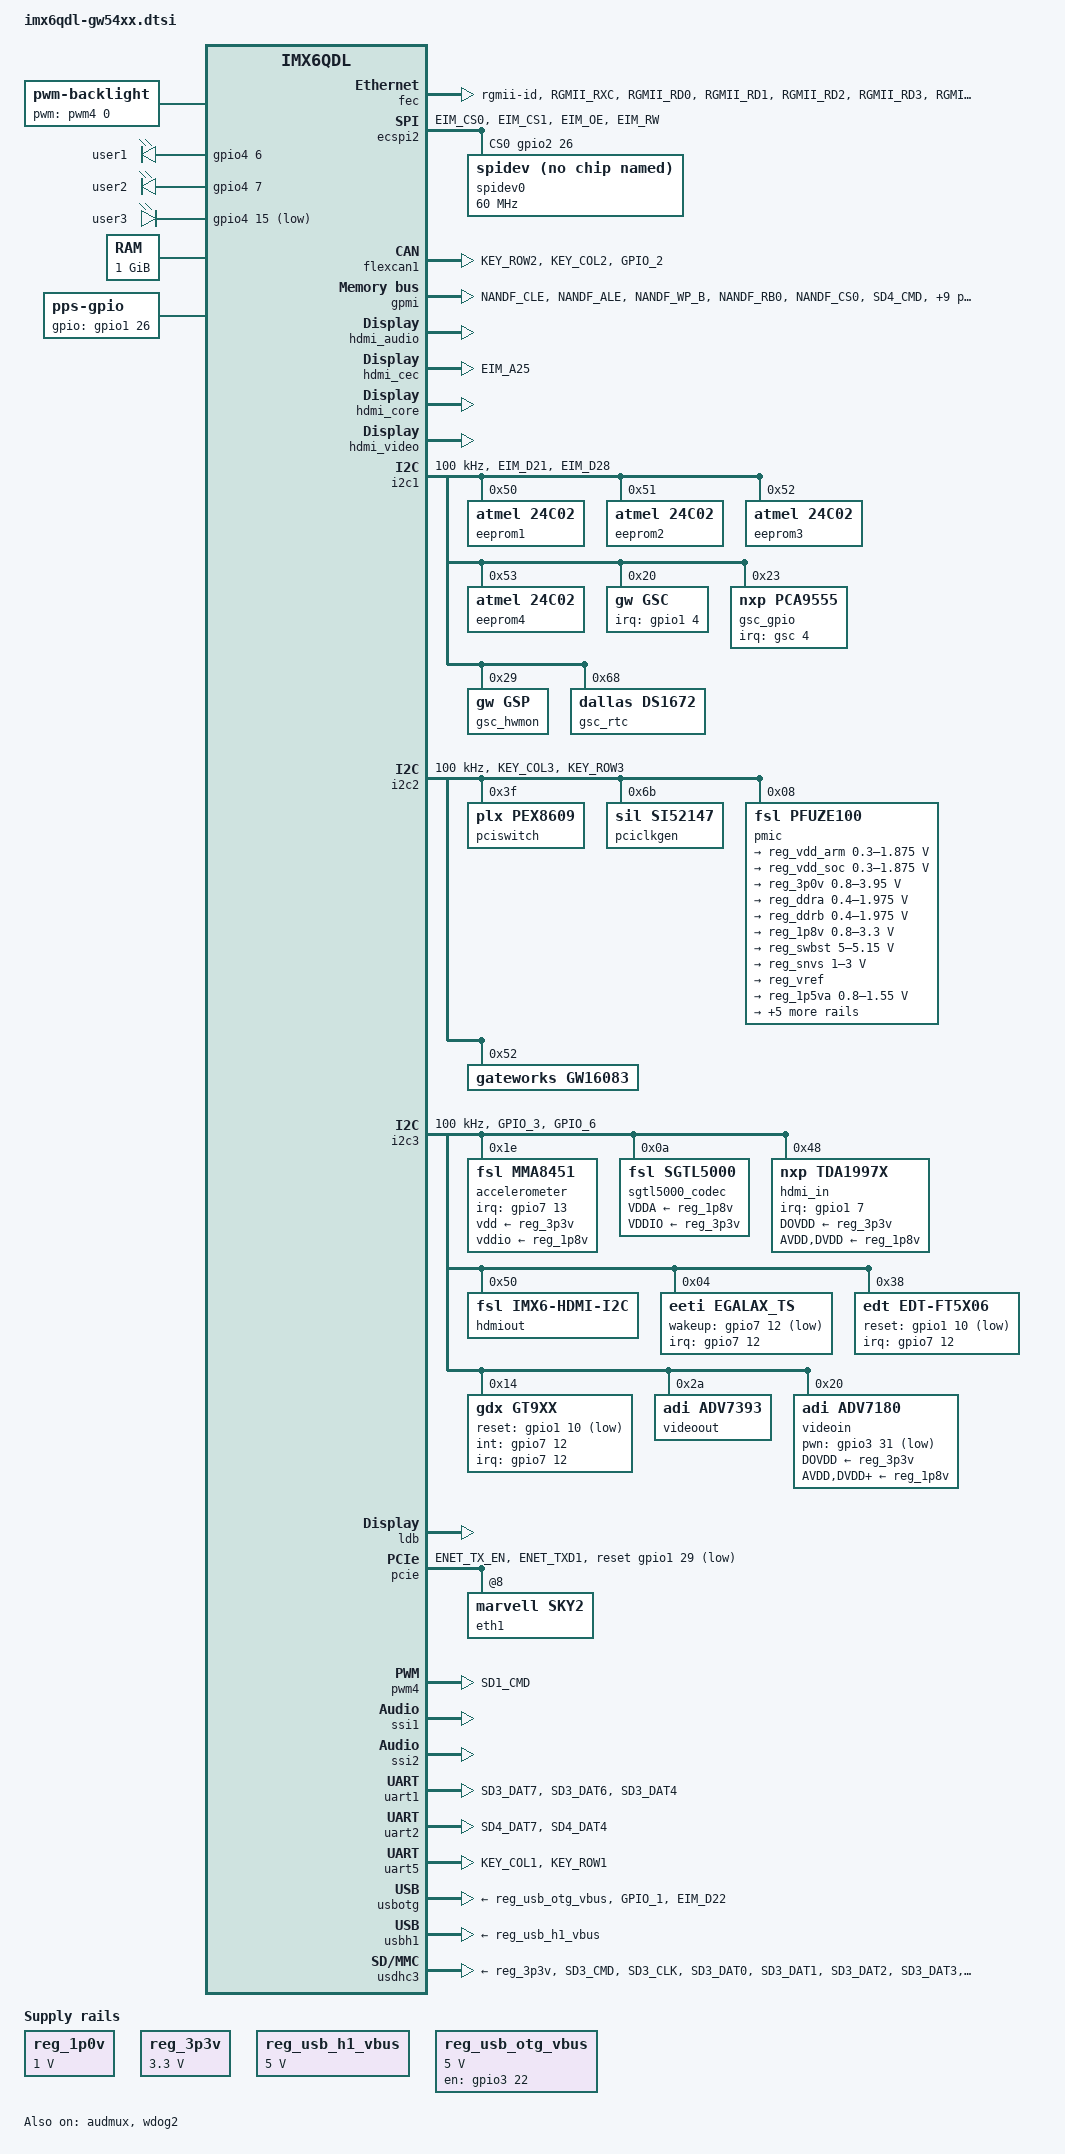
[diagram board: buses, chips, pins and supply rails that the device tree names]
/*
 * Copyright 2013-2014 Gateworks Corporation
 *
 * The code contained herein is licensed under the GNU General Public
 * License. You may obtain a copy of the GNU General Public License
 * Version 2 or later at the following locations:
 *
 * http://www.opensource.org/licenses/gpl-license.html
 * http://www.gnu.org/copyleft/gpl.html
 */

/ {
	/* these are used by bootloader for disabling nodes */
	aliases {
		can0 = &flexcan1;
		ethernet0 = &fec;
		ethernet1 = &eth1;
		sky2 = &eth1; /* FIXME */
		led0 = &led0;
		led1 = &led1;
		led2 = &led2;
		lvds0 = &lvds1;
		mxcfb0 = &mxcfb1;
		mxcfb1 = &mxcfb2;
		mxcfb2 = &mxcfb3;
		nand = &gpmi;
		spi2 = &ecspi2;
		ssi0 = &ssi1;
		ssi1 = &ssi2;
		usb0 = &usbh1;
		usb1 = &usbotg;
		usdhc2 = &usdhc3;
	};

	chosen {
		bootargs = "console=ttymxc1,115200";
	};


	backlight {
		compatible = "pwm-backlight";
		pwms = <&pwm4 0 5000000>;
		brightness-levels = <
			0  /*1  2  3  4  5  6*/  7  8  9
			10 11 12 13 14 15 16 17 18 19
			20 21 22 23 24 25 26 27 28 29
			30 31 32 33 34 35 36 37 38 39
			40 41 42 43 44 45 46 47 48 49
			50 51 52 53 54 55 56 57 58 59
			60 61 62 63 64 65 66 67 68 69
			70 71 72 73 74 75 76 77 78 79
			80 81 82 83 84 85 86 87 88 89
			90 91 92 93 94 95 96 97 98 99
			100
			>;
		default-brightness-level = <94>;
	};

	leds {
		compatible = "gpio-leds";
		pinctrl-names = "default";
		pinctrl-0 = <&pinctrl_gpio_leds>;

		led0: user1 {
			label = "user1";
			gpios = <&gpio4 6 GPIO_ACTIVE_HIGH>; /* MX6_PANLEDG */
			default-state = "on";
			linux,default-trigger = "heartbeat";
		};

		led1: user2 {
			label = "user2";
			gpios = <&gpio4 7 GPIO_ACTIVE_HIGH>; /* MX6_PANLEDR */
			default-state = "off";
		};

		led2: user3 {
			label = "user3";
			gpios = <&gpio4 15 GPIO_ACTIVE_LOW>; /* MX6_LOCLED# */
			default-state = "off";
		};
	};

	memory {
		reg = <0x10000000 0x40000000>;
	};

	pps {
		compatible = "pps-gpio";
		pinctrl-names = "default";
		pinctrl-0 = <&pinctrl_pps>;
		gpios = <&gpio1 26 GPIO_ACTIVE_HIGH>;
		status = "okay";
	};

	hdmi_video_in: hdmi_video_in {
		compatible = "fsl,imx6-ventana-tda1997x",
			     "fsl,imx-tda1997x-video";
		status = "okay";
	};

	hdmi_audio_in: hdmi_audio_in {
		compatible = "fsl,imx6-ventana-tda1997x",
			     "fsl,imx-tda1997x-audio";
		status = "okay";
	};

	regulators {
		compatible = "simple-bus";
		#address-cells = <1>;
		#size-cells = <0>;

		reg_1p0v: regulator@0 {
			compatible = "regulator-fixed";
			reg = <0>;
			regulator-name = "1P0V";
			regulator-min-microvolt = <1000000>;
			regulator-max-microvolt = <1000000>;
			regulator-always-on;
		};

		reg_3p3v: regulator@1 {
			compatible = "regulator-fixed";
			reg = <1>;
			regulator-name = "3P3V";
			regulator-min-microvolt = <3300000>;
			regulator-max-microvolt = <3300000>;
			regulator-always-on;
		};

		reg_usb_h1_vbus: regulator@2 {
			compatible = "regulator-fixed";
			reg = <2>;
			regulator-name = "usb_h1_vbus";
			regulator-min-microvolt = <5000000>;
			regulator-max-microvolt = <5000000>;
			regulator-always-on;
		};

		reg_usb_otg_vbus: regulator@3 {
			compatible = "regulator-fixed";
			reg = <3>;
			regulator-name = "usb_otg_vbus";
			regulator-min-microvolt = <5000000>;
			regulator-max-microvolt = <5000000>;
			gpio = <&gpio3 22 GPIO_ACTIVE_HIGH>;
			enable-active-high;
		};
	};

	sound {
		compatible = "fsl,imx6q-ventana-sgtl5000",
			     "fsl,imx-audio-sgtl5000";
		model = "sgtl5000-audio";
		cpu-dai = <&ssi1>;
		audio-codec = <&sgtl5000_codec>;
		audio-routing =
			"LINE_IN", "Line In Jack",
			"Line Out Jack", "LINE_OUT";
		mux-int-port = <1>;
		mux-ext-port = <4>;
	};

	sound-hdmi-in {
		compatible = "fsl,imx6q-ventana-tda1997x",
			     "fsl,imx-audio-tda1997x";
		model = "tda1997x-audio";
		cpu-dai = <&ssi2>;
		audio-codec = <&tda1997x_codec>;
		mux-int-port = <2>;
		mux-ext-port = <5>;
	};

	sound-hdmi-out {
		compatible = "fsl,imx6q-audio-hdmi",
			     "fsl,imx-audio-hdmi";
		model = "imx-audio-hdmi";
		hdmi-controller = <&hdmi_audio>;
	};

	tda1997x_codec: sound-tda1997x-codec {
		compatible = "nxp,tda1997x-codec";
		status = "okay";
	};

	mxcfb1: fb@0 {
		/* hdmi */
		compatible = "fsl,mxc_sdc_fb";
		disp_dev = "hdmi";
		interface_pix_fmt = "RGB24";
		mode_str ="1920x1080M@60";
		default_bpp = <24>;
		int_clk = <0>;
		late_init = <0>;
		status = "okay";
	};

	mxcfb2: fb@1 {
		/* Analog */
		compatible = "fsl,mxc_sdc_fb";
		disp_dev = "adv739x";
		interface_pix_fmt = "BT656";
		mode_str ="BT656-NTSC";
		default_bpp = <16>;
		int_clk = <0>;
		late_init = <0>;
		status = "okay";
	};

	mxcfb3: fb@2 {
		/* LVDS */
		compatible = "fsl,mxc_sdc_fb";
		disp_dev = "ldb";
		interface_pix_fmt = "RGB666";
		default_bpp = <16>;
		int_clk = <0>;
		late_init = <0>;
		status = "disabled";
	};

	/* this is IPU<n>_DISP<n> interface from LCD block for parallel out
	 * On the GW54xx these are connected to the DISP0 pads and used for
	 * adv7393 Analog Video out
	 *
	 * IMX6Q:  can be IPU1_DISP0 or IPU2_DISP0
	 * IMX6DL: can be IPU1_DISP0
	 * thus we override it in the q/dl dts to enable and select pinctrl
	 */
	bt656if: lcd@0 {
		compatible = "fsl,lcd";
		default_ifmt = "BT656";
		status = "disabled";
	};

	/*
	 * GW54xx has 2 video inputs:
	 *  TDA1997x HDMI in: IPU1_CSI0
	 *  ADV7180 CVBS in : IPU2_CSI1
	 * likely need to move this to q/dl to handle all cases
	 * make sure the ipu/csi id matches the resource in the decoder
	 */
	cap0: v4l2_cap_0 {
		/* IPU1_CSI0 - HDMI in via TDA1997x */
		compatible = "fsl,imx6q-v4l2-capture";
		/* ipu/csi id set in cpu specific as pinmux varies */
		mclk_source = <0>;
		status = "okay";
	};

	cap1: v4l2_cap_1 {
		/* Analog in via ADV7180 */
		compatible = "fsl,imx6q-v4l2-capture";
		/* ipu/csi id set in cpu specific as pinmux varies */
		mclk_source = <0>;
		status = "okay";
	};

	v4l2_out {
		compatible = "fsl,mxc_v4l2_output";
		status = "okay";
	};

	lvds_cabc_ctrl {
		lvds0-gpios = <&gpio1 10 GPIO_ACTIVE_HIGH>;
	};
};

&audmux {
	pinctrl-names = "default";
	pinctrl-0 = <&pinctrl_audmux>; /* AUD4<->sgtl5000 / AUD5<->tda1997x */
	status = "okay";
};

&fec {
	pinctrl-names = "default";
	pinctrl-0 = <&pinctrl_enet>;
	phy-mode = "rgmii-id";
	phy-reset-gpios = <&gpio1 30 GPIO_ACTIVE_LOW>;
	status = "okay";
};

&ecspi2 {
	fsl,spi-num-chipselects = <1>;
	cs-gpios = <&gpio2 26 GPIO_ACTIVE_HIGH>;
	pinctrl-names = "default";
	pinctrl-0 = <&pinctrl_ecspi2>;
	status = "okay";

	spidev0: spidev@0 {
		compatible = "spidev";
		reg = <0>;
		spi-max-frequency = <60000000>;
	};
};

&flexcan1 {
	pinctrl-names = "default";
	pinctrl-0 = <&pinctrl_flexcan1>;
	trx-stby-gpio = <&gpio1 2 GPIO_ACTIVE_HIGH>;
	status = "okay";
};

&gpc {
	fsl,ldo-bypass = <0>;
};

&gpmi {
	pinctrl-names = "default";
	pinctrl-0 = <&pinctrl_gpmi_nand>;
	status = "okay";
};

&hdmi_audio {
	status = "okay";
};

&hdmi_cec {
	pinctrl-names = "default";
	pinctrl-0 = <&pinctrl_hdmi_cec>;
	status = "okay";
};

&hdmi_core {
	ipu_id = <0>;
	disp_id = <1>;
	status = "okay";
};

&hdmi_video {
	fsl,phy_reg_vlev = <0x0294>;
	fsl,phy_reg_cksymtx = <0x800d>;
	status = "okay";
};

&i2c1 {
	clock-frequency = <100000>;
	pinctrl-names = "default";
	pinctrl-0 = <&pinctrl_i2c1>;
	status = "okay";

	eeprom1: eeprom@50 {
		compatible = "atmel,24c02";
		reg = <0x50>;
		pagesize = <16>;
	};

	eeprom2: eeprom@51 {
		compatible = "atmel,24c02";
		reg = <0x51>;
		pagesize = <16>;
	};

	eeprom3: eeprom@52 {
		compatible = "atmel,24c02";
		reg = <0x52>;
		pagesize = <16>;
	};

	eeprom4: eeprom@53 {
		compatible = "atmel,24c02";
		reg = <0x53>;
		pagesize = <16>;
	};

	gsc: gsc@20 {
		compatible = "gw,gsc";
		reg = <0x20>;
		interrupt-parent = <&gpio1>;
		interrupts = <4 GPIO_ACTIVE_LOW>;
		interrupt-controller;
		#interrupt-cells = <1>;

		/* GSC watchdog */
		watchdog {
			compatible = "gw,gsc_wdt";
			status = "okay";
		};

		/* Linux input events from GSC interrupt events */
		input {
			compatible = "gw,gsc_input";
			interrupt-parent = <&gsc>;
			interrupts = <0 1 2 5 7>;
			interrupt-names = "button", "key-erased", "eeprom-wp", "tamper", "button-held";
			status = "okay";
		};
	};

	gsc_gpio: pca9555@23 {
		compatible = "nxp,pca9555";
		reg = <0x23>;
		gpio-controller;
		#gpio-cells = <2>;
		interrupt-parent = <&gsc>;
		interrupts = <4>;
	};

	gsc_hwmon: hwmon@29 {
		compatible = "gw,gsp";
		reg = <0x29>;
	};

	gsc_rtc: ds1672@68 {
		compatible = "dallas,ds1672";
		reg = <0x68>;
	};
};

&i2c2 {
	clock-frequency = <100000>;
	pinctrl-names = "default";
	pinctrl-0 = <&pinctrl_i2c2>;
	status = "okay";

	pciswitch: pex8609@3f {
		compatible = "plx,pex8609";
		reg = <0x3f>;
	};

	pciclkgen: si52147@6b {
		compatible = "sil,si52147";
		reg = <0x6b>;
	};

	pmic: pfuze100@08 {
		compatible = "fsl,pfuze100";
		reg = <0x08>;

		regulators {
			/* VDD_ARM */
			reg_vdd_arm: sw1ab {
				regulator-name = "vddarm";
				regulator-min-microvolt = <300000>;
				regulator-max-microvolt = <1875000>;
				regulator-boot-on;
				regulator-always-on;
				regulator-ramp-delay = <6250>;
				linux,phandle = <&reg_vdd_arm>;
			};

			/* VDD_SOC */
			reg_vdd_soc: sw1c {
				regulator-name = "vddsoc";
				regulator-min-microvolt = <300000>;
				regulator-max-microvolt = <1875000>;
				regulator-boot-on;
				regulator-always-on;
				regulator-ramp-delay = <6250>;
				linux,phandle = <&reg_vdd_soc>;
			};

			/* VDD_HIGH */
			reg_3p0v: sw2 {
				regulator-name = "vdd3p0";
				regulator-min-microvolt = <800000>;
				regulator-max-microvolt = <3950000>;
				regulator-boot-on;
				regulator-always-on;
			};

			/* VDD_DDR */
			reg_ddra: sw3a {
				regulator-name = "vddddra";
				regulator-min-microvolt = <400000>;
				regulator-max-microvolt = <1975000>;
				regulator-boot-on;
				regulator-always-on;
			};

			/* VDD_DDR */
			reg_ddrb: sw3b {
				regulator-name = "vddddrb";
				regulator-min-microvolt = <400000>;
				regulator-max-microvolt = <1975000>;
				regulator-boot-on;
				regulator-always-on;
			};

			/* VDD_1P8 */
			reg_1p8v: sw4 {
				regulator-name = "vdd1p8";
				regulator-min-microvolt = <800000>;
				regulator-max-microvolt = <3300000>;
			};

			/* VDD_5P0 */
			reg_swbst: swbst {
				regulator-name = "vdd5p0";
				regulator-min-microvolt = <5000000>;
				regulator-max-microvolt = <5150000>;
			};

			reg_snvs: vsnvs {
				regulator-name = "vddsnvs";
				regulator-min-microvolt = <1000000>;
				regulator-max-microvolt = <3000000>;
				regulator-boot-on;
				regulator-always-on;
			};

			/* VDD_VREF */
			reg_vref: vrefddr {
				regulator-name = "vddvref";
				regulator-boot-on;
				regulator-always-on;
			};

			/* VDD_PCI_1P5_1 */
			reg_1p5va: vgen1 {
				regulator-name = "vdd1p5a";
				regulator-min-microvolt = <800000>;
				regulator-max-microvolt = <1550000>;
				regulator-boot-on;
				regulator-always-on;
			};

			/* VDD_PCI_1P5_2 */
			reg_1p5vb: vgen2 {
				regulator-name = "vdd1p5b";
				regulator-min-microvolt = <800000>;
				regulator-max-microvolt = <1550000>;
				regulator-boot-on;
				regulator-always-on;
			};

			/* unused */
			reg_vgen3: vgen3 {
				regulator-min-microvolt = <1800000>;
				regulator-max-microvolt = <3300000>;
			};

			/* VDD_AUD_1P8 */
			reg_aud_1p8v: vgen4 {
				regulator-name = "vdd1p8a";
				regulator-min-microvolt = <1800000>;
				regulator-max-microvolt = <3300000>;
				regulator-always-on;
			};

			/* VDD_2P5 */
			reg_2p5v: vgen5 {
				regulator-name = "vdd2p5";
				regulator-min-microvolt = <1800000>;
				regulator-max-microvolt = <3300000>;
				regulator-always-on;
			};

			/* unused */
			reg_vgen6: vgen6 {
				regulator-min-microvolt = <1800000>;
				regulator-max-microvolt = <3300000>;
				regulator-always-on;
			};
		};
	};

	gw16083: gw16083@52 {
		compatible = "gateworks,gw16083";
		reg = <0x52>;
	};
};

&i2c3 {
	clock-frequency = <100000>;
	pinctrl-names = "default";
	pinctrl-0 = <&pinctrl_i2c3>;
	status = "okay";

	accelerometer: mma8451@1e {
		compatible = "fsl,mma8451";
		reg = <0x1e>;
		position = <0>;
		vdd-supply = <&reg_3p3v>;
		vddio-supply = <&reg_1p8v>;
		interrupt-parent = <&gpio7>;
		interrupts = <13 8>;
		interrupt-route = <1>;
	};

	sgtl5000_codec: sgtl5000@0a {
		compatible = "fsl,sgtl5000";
		reg = <0x0a>;
		clocks = <&clks 201>;
		VDDA-supply = <&reg_1p8v>;
		VDDIO-supply = <&reg_3p3v>;
	};

	hdmi_in: tda1977x@48 {
		compatible = "nxp,tda1997x";
		reg = <0x48>;
		interrupt-parent = <&gpio1>;
		interrupts = <7 IRQ_TYPE_EDGE_FALLING>;
		/* regulators */
		DOVDD-supply = <&reg_3p3v>;
		AVDD-supply = <&reg_1p8v>;
		DVDD-supply = <&reg_1p8v>;
		hdcp = <0>; /* HDCP disabled */
		ddc_slave = <0x74>; /* DDC slave addres */
		max-pixel-rate = <180>; /* IMX6 CSI max pixel rate 180MP/sec */
		/* video output format */
		vidout_fmt = "422_smp"; /* YUV422 */
		vidout_clkmode = "single_edge"; /* 1x clock */
		vidout_portcfg = [ 00 00 00 88 87 00 82 81 00 ];
		vidout_trc = <0>; /* no timing codes (SAV/EAV) in stream */
		vidout_blc = <0>; /* no blanking codes in stream */
		/* audio output format */
		audout_fmt = "i2s16"; /* I2S bus, 16bit per ch */
		audout_sysclk = <128>; /* 128fs clkmode */
		audout_layout = <0>; /* AP0,WS,A_CLK for up to 2ch audio */
		status = "okay";
	};

	hdmiout: edid@50 {
		compatible = "fsl,imx6-hdmi-i2c";
		reg = <0x50>;
	};

	/* touchscreen */
	egalax_ts@04 {
		compatible = "eeti,egalax_ts";
		reg = <0x04>;
		interrupt-parent = <&gpio7>;
		interrupts = <12 IRQ_TYPE_EDGE_FALLING>;
		wakeup-gpios = <&gpio7 12 GPIO_ACTIVE_LOW>;
	};

	/* touchscreen */
	edt-ft5x06@38 {
		compatible = "edt,edt-ft5x06";
		reg = <0x38>;
		interrupt-parent = <&gpio7>;
		interrupts = <12 IRQ_TYPE_EDGE_FALLING>;
		reset-gpios = <&gpio1 10 GPIO_ACTIVE_LOW>;
		invert;
		screen-x = <1024>;
		screen-y = <600>;
	};

	/* touchscreen */
	gt9xx@14 {
		compatible = "gdx,gt9xx";
		reg = <0x14>;
		interrupt-parent = <&gpio7>;
		interrupts = <12 IRQ_TYPE_EDGE_FALLING>;
		reset-gpio = <&gpio1 10 GPIO_ACTIVE_LOW>;
		int-gpio = <&gpio7 12 GPIO_ACTIVE_HIGH>;
		rotate;
	};

	/* on IMX6Q this can be IPU1_DISP0 or IPU2_DISP0 so we define in q/dl */
	videoout: adv7393@2a {
		compatible = "adi,adv7393";
		reg = <0x2a>;
	};

	/* Analog VideoIn */
	/* EIM pads differ between IMX6Q and IMX6DL so we define pinmux/csi/ipu in IMX6Q/IMX6DL */
	videoin: adv7180@20 {
		compatible = "adi,adv7180";
		reg = <0x20>;
		clocks = <&clks 201>;
		clock-names = "csi_mclk";
		DOVDD-supply = <&reg_3p3v>;
		AVDD-supply = <&reg_1p8v>;
		DVDD-supply = <&reg_1p8v>;
		PVDD-supply = <&reg_1p8v>;
		pwn-gpios = <&gpio3 31 GPIO_ACTIVE_LOW>; /* powerdown */
		/* mclk required but not used */
		mclk = <24000000>;
		mclk_source = <0>;
		cvbs = <1>;
	};
};

&ldb {
	status = "okay";

	lvds1: lvds-channel@0 {
		fsl,data-mapping = "spwg";
		fsl,data-width = <18>;
		crtc = "ipu1-di0";
		status = "okay";
		primary;

		display-timings {
			native-mode = <&timing0>;

			timing0: hsd100pxn1 {
				clock-frequency = <65000000>;
				hactive = <1024>;
				vactive = <768>;
				hback-porch = <220>;
				hfront-porch = <40>;
				vback-porch = <21>;
				vfront-porch = <7>;
				hsync-len = <60>;
				vsync-len = <10>;
				linux,phandle = <&timing0>;
			};

			timing1: dlc800figt3 {
				clock-frequency = <65000000>;
				hactive = <1024>;
				vactive = <768>;
				hback-porch = <220>;
				hfront-porch = <40>;
				vback-porch = <21>;
				vfront-porch = <7>;
				hsync-len = <60>;
				vsync-len = <10>;
				linux,phandle = <&timing1>;
			};

			timing2: dlc700jmgt4 {
				clock-frequency = <65000000>;
				hactive = <1024>;
				vactive = <600>;
				hback-porch = <180>;
				hfront-porch = <40>;
				vback-porch = <21>;
				vfront-porch = <7>;
				hsync-len = <60>;
				vsync-len = <10>;
				linux,phandle = <&timing2>;

			timing3: dlc0700xdp21lf {
				clock-frequency = <65000000>;
				hactive = <1024>;
				vactive = <600>;
				hback-porch = <180>;
				hfront-porch = <40>;
				vback-porch = <21>;
				vfront-porch = <7>;
				hsync-len = <60>;
				vsync-len = <10>;
				linux,phandle = <&timing3>;
			};
			};
		};
	};
};

&pcie {
	pinctrl-names = "default";
	pinctrl-0 = <&pinctrl_pcie>;
	reset-gpio = <&gpio1 29 GPIO_ACTIVE_LOW>;
	status = "okay";

	eth1: sky2@8 { /* MAC/PHY on bus 8 */
		compatible = "marvell,sky2";
		/* Filled in by U-Boot */
		local-mac-address = [ 00 00 00 00 00 00 ];
	};
};

&pwm1 {
	pinctrl-names = "default";
	pinctrl-0 = <&pinctrl_pwm1>; /* MX6_DIO0 */
	status = "disabled";
};

&pwm2 {
	pinctrl-names = "default";
	pinctrl-0 = <&pinctrl_pwm2>; /* MX6_DIO1 */
	status = "disabled";
};

&pwm3 {
	pinctrl-names = "default";
	pinctrl-0 = <&pinctrl_pwm3>; /* MX6_DIO2 */
	status = "disabled";
};

&pwm4 {
	pinctrl-names = "default";
	pinctrl-0 = <&pinctrl_pwm4>;
	status = "okay";
};

&ssi1 {
	fsl,mode = "i2s-slave";
	status = "okay";
};

&ssi2 {
	fsl,mode = "i2s-slave";
	status = "okay";
};

&uart1 {
	pinctrl-names = "default";
	pinctrl-0 = <&pinctrl_uart1>;
	fsl,rs485-gpio-txen = <&gpio7 1 GPIO_ACTIVE_HIGH>;
	status = "okay";
};

&uart2 {
	pinctrl-names = "default";
	pinctrl-0 = <&pinctrl_uart2>;
	status = "okay";
};

&uart5 {
	pinctrl-names = "default";
	pinctrl-0 = <&pinctrl_uart5>;
	status = "okay";
};

&usbotg {
	vbus-supply = <&reg_usb_otg_vbus>;
	pinctrl-names = "default";
	pinctrl-0 = <&pinctrl_usbotg>;
	disable-over-current;
	srp-disable;
	hnp-disable;
	adp-disable;
	status = "okay";
};

&usbh1 {
	vbus-supply = <&reg_usb_h1_vbus>;
	status = "okay";
};

&usdhc3 {
	pinctrl-names = "default", "state_100mhz", "state_200mhz";
	pinctrl-0 = <&pinctrl_usdhc3>;
	pinctrl-1 = <&pinctrl_usdhc3_100mhz>;
	pinctrl-2 = <&pinctrl_usdhc3_200mhz>;
	cd-gpios = <&gpio7 0 GPIO_ACTIVE_HIGH>;
	vmmc-supply = <&reg_3p3v>;
	no-1-8-v; /* firmware will remove if board revision supports */
	status = "okay";
};

&wdog1 {
	status = "disabled";
};

&wdog2 {
	pinctrl-names = "default";
	pinctrl-0 = <&pinctrl_wdog>;
	ext-reset-output;
	status = "okay";
};

&iomuxc {
	pinctrl-names = "default";
	pinctrl-0 = <&pinctrl_hog>;

	imx6qdl-gw54xx {
		pinctrl_hog: hoggrp {
			fsl,pins = <
				MX6QDL_PAD_DISP0_DAT23__GPIO5_IO17	0x4001b0b0 /* PCIESKT_WDIS# */
				MX6QDL_PAD_EIM_A19__GPIO2_IO19		0x4001b0b0 /* MEZZ_DIO0 */
				MX6QDL_PAD_EIM_A20__GPIO2_IO18		0x0001b0b0 /* MEZZ_DIO1 */
				MX6QDL_PAD_EIM_D31__GPIO3_IO31		0x4001b0b0 /* VIDDEC_EN */
				MX6QDL_PAD_GPIO_4__GPIO1_IO04 		0x0001b0b0 /* GSC_IRQ# */
				MX6QDL_PAD_GPIO_8__GPIO1_IO08		0x0001b0b0 /* PMIC_IRQ# */
				MX6QDL_PAD_GPIO_17__GPIO7_IO12		0x0001b0b0 /* LVDSTCH_IRQ# */
				MX6QDL_PAD_GPIO_18__GPIO7_IO13		0x0001b0b0 /* ACCEL_IRQ# */
				MX6QDL_PAD_GPIO_19__GPIO4_IO05		0x4001b0b0 /* DIOI2C_DIS# */
				MX6QDL_PAD_SD1_DAT0__GPIO1_IO16		0x4001b0b0 /* USBHUB_RST# */
				MX6QDL_PAD_SD2_CLK__GPIO1_IO10		0x4001b0b0 /* LVDS_GPIO */
				MX6QDL_PAD_SD4_DAT0__GPIO2_IO08		0x4001b0b0 /* MSATA_EN */
				MX6QDL_PAD_SD4_DAT3__GPIO2_IO11		0x4001b0b0 /* UART2_EN# */
			 >;
		};

		pinctrl_audmux: audmuxgrp {
			fsl,pins = <
				MX6QDL_PAD_SD2_DAT0__AUD4_RXD		0x130b0
				MX6QDL_PAD_SD2_DAT3__AUD4_TXC		0x130b0
				MX6QDL_PAD_SD2_DAT2__AUD4_TXD		0x110b0
				MX6QDL_PAD_SD2_DAT1__AUD4_TXFS		0x130b0
				MX6QDL_PAD_GPIO_0__CCM_CLKO1		0x130b0 /* AUD4_MCK */

				MX6QDL_PAD_EIM_D25__AUD5_RXC		0x130b0
				MX6QDL_PAD_DISP0_DAT19__AUD5_RXD	0x130b0
				MX6QDL_PAD_EIM_D24__AUD5_RXFS		0x130b0
			>;
		};

		pinctrl_enet: enetgrp {
			fsl,pins = <
				MX6QDL_PAD_RGMII_RXC__RGMII_RXC		0x1b0b0
				MX6QDL_PAD_RGMII_RD0__RGMII_RD0		0x1b0b0
				MX6QDL_PAD_RGMII_RD1__RGMII_RD1		0x1b0b0
				MX6QDL_PAD_RGMII_RD2__RGMII_RD2		0x1b0b0
				MX6QDL_PAD_RGMII_RD3__RGMII_RD3		0x1b0b0
				MX6QDL_PAD_RGMII_RX_CTL__RGMII_RX_CTL	0x1b0b0
				MX6QDL_PAD_RGMII_TXC__RGMII_TXC		0x1b0b0
				MX6QDL_PAD_RGMII_TD0__RGMII_TD0		0x1b0b0
				MX6QDL_PAD_RGMII_TD1__RGMII_TD1		0x1b0b0
				MX6QDL_PAD_RGMII_TD2__RGMII_TD2		0x1b0b0
				MX6QDL_PAD_RGMII_TD3__RGMII_TD3		0x1b0b0
				MX6QDL_PAD_RGMII_TX_CTL__RGMII_TX_CTL	0x1b0b0
				MX6QDL_PAD_ENET_REF_CLK__ENET_TX_CLK	0x1b0b0
				MX6QDL_PAD_ENET_MDIO__ENET_MDIO		0x1b0b0
				MX6QDL_PAD_ENET_MDC__ENET_MDC		0x1b0b0
				MX6QDL_PAD_GPIO_16__ENET_REF_CLK	0x4001b0a8
				MX6QDL_PAD_ENET_TXD0__GPIO1_IO30	0x4001b0b0 /* PHY_RST# */
			>;
		};

		pinctrl_ecspi2: escpi2grp {
			fsl,pins = <
				MX6QDL_PAD_EIM_CS0__ECSPI2_SCLK	0x100b1
				MX6QDL_PAD_EIM_CS1__ECSPI2_MOSI	0x100b1
				MX6QDL_PAD_EIM_OE__ECSPI2_MISO	0x100b1
				MX6QDL_PAD_EIM_RW__GPIO2_IO26	0x100b1
			>;
		};

		pinctrl_flexcan1: flexcan1grp {
			fsl,pins = <
				MX6QDL_PAD_KEY_ROW2__FLEXCAN1_RX	0x1b0b1
				MX6QDL_PAD_KEY_COL2__FLEXCAN1_TX	0x1b0b1
				MX6QDL_PAD_GPIO_2__GPIO1_IO02		0x4001b0b0 /* CAN_STBY */
			>;
		};

		pinctrl_gpio_leds: gpioledsgrp {
			fsl,pins = <
				MX6QDL_PAD_KEY_COL0__GPIO4_IO06		0x1b0b0
				MX6QDL_PAD_KEY_ROW0__GPIO4_IO07		0x1b0b0
				MX6QDL_PAD_KEY_ROW4__GPIO4_IO15		0x1b0b0
			>;
		};

		pinctrl_gpmi_nand: gpminandgrp {
			fsl,pins = <
				MX6QDL_PAD_NANDF_CLE__NAND_CLE		0xb0b1
				MX6QDL_PAD_NANDF_ALE__NAND_ALE		0xb0b1
				MX6QDL_PAD_NANDF_WP_B__NAND_WP_B	0xb0b1
				MX6QDL_PAD_NANDF_RB0__NAND_READY_B	0xb000
				MX6QDL_PAD_NANDF_CS0__NAND_CE0_B	0xb0b1
				MX6QDL_PAD_SD4_CMD__NAND_RE_B		0xb0b1
				MX6QDL_PAD_SD4_CLK__NAND_WE_B		0xb0b1
				MX6QDL_PAD_NANDF_D0__NAND_DATA00	0xb0b1
				MX6QDL_PAD_NANDF_D1__NAND_DATA01	0xb0b1
				MX6QDL_PAD_NANDF_D2__NAND_DATA02	0xb0b1
				MX6QDL_PAD_NANDF_D3__NAND_DATA03	0xb0b1
				MX6QDL_PAD_NANDF_D4__NAND_DATA04	0xb0b1
				MX6QDL_PAD_NANDF_D5__NAND_DATA05	0xb0b1
				MX6QDL_PAD_NANDF_D6__NAND_DATA06	0xb0b1
				MX6QDL_PAD_NANDF_D7__NAND_DATA07	0xb0b1
			>;
		};

		pinctrl_hdmi_cec: hdmicecgrp {
			fsl,pins = <
				MX6QDL_PAD_EIM_A25__HDMI_TX_CEC_LINE	0x1f8b0
			>;
		};

		pinctrl_i2c1: i2c1grp {
			fsl,pins = <
				MX6QDL_PAD_EIM_D21__I2C1_SCL		0x4001b8b1
				MX6QDL_PAD_EIM_D28__I2C1_SDA		0x4001b8b1
			>;
		};

		pinctrl_i2c2: i2c2grp {
			fsl,pins = <
				MX6QDL_PAD_KEY_COL3__I2C2_SCL		0x4001b8b1
				MX6QDL_PAD_KEY_ROW3__I2C2_SDA		0x4001b8b1
			>;
		};

		pinctrl_i2c3: i2c3grp {
			fsl,pins = <
				MX6QDL_PAD_GPIO_3__I2C3_SCL		0x4001b8b1
				MX6QDL_PAD_GPIO_6__I2C3_SDA		0x4001b8b1
			>;
		};

		pinctrl_pcie: pciegrp {
			fsl,pins = <
				MX6QDL_PAD_ENET_TX_EN__GPIO1_IO28	0x1b0b0 /* PCIE IRQ */
				MX6QDL_PAD_ENET_TXD1__GPIO1_IO29	0x1b0b0 /* PCIE RST */
			>;
		};

		pinctrl_pps: ppsgrp {
			fsl,pins = <
				MX6QDL_PAD_ENET_RXD1__GPIO1_IO26	0x1b0b1
			>;
		};

		pinctrl_pwm1: pwm1grp {
			fsl,pins = <
				MX6QDL_PAD_GPIO_9__PWM1_OUT		0x1b0b1
			>;
		};

		pinctrl_pwm2: pwm2grp {
			fsl,pins = <
				MX6QDL_PAD_SD1_DAT2__PWM2_OUT		0x1b0b1
			>;
		};

		pinctrl_pwm3: pwm3grp {
			fsl,pins = <
				MX6QDL_PAD_SD4_DAT1__PWM3_OUT		0x1b0b1
			>;
		};

		pinctrl_pwm4: pwm4grp {
			fsl,pins = <
				/* MX6QDL_PAD_SD4_DAT2__PWM4_OUT	0x1b0b1 */ /* MX6_DIO3 */
				MX6QDL_PAD_SD1_CMD__PWM4_OUT		0x1b0b1
			>;
		};

		pinctrl_uart1: uart1grp {
			fsl,pins = <
				MX6QDL_PAD_SD3_DAT7__UART1_TX_DATA	0x1b0b1
				MX6QDL_PAD_SD3_DAT6__UART1_RX_DATA	0x1b0b1
				MX6QDL_PAD_SD3_DAT4__GPIO7_IO01		0x4001b0b1 /* TEN */
			>;
		};

		pinctrl_uart2: uart2grp {
			fsl,pins = <
				MX6QDL_PAD_SD4_DAT7__UART2_TX_DATA	0x1b0b1
				MX6QDL_PAD_SD4_DAT4__UART2_RX_DATA	0x1b0b1
			>;
		};

		pinctrl_uart5: uart5grp {
			fsl,pins = <
				MX6QDL_PAD_KEY_COL1__UART5_TX_DATA	0x1b0b1
				MX6QDL_PAD_KEY_ROW1__UART5_RX_DATA	0x1b0b1
			>;
		};

		pinctrl_usbotg: usbotggrp {
			fsl,pins = <
				MX6QDL_PAD_GPIO_1__USB_OTG_ID		0x17059
				MX6QDL_PAD_EIM_D22__GPIO3_IO22		0x1b0b0 /* PWR_EN */
			>;
		};

		pinctrl_usdhc3: usdhc3grp {
			fsl,pins = <
				MX6QDL_PAD_SD3_CMD__SD3_CMD		0x17059
				MX6QDL_PAD_SD3_CLK__SD3_CLK		0x10059
				MX6QDL_PAD_SD3_DAT0__SD3_DATA0		0x17059
				MX6QDL_PAD_SD3_DAT1__SD3_DATA1		0x17059
				MX6QDL_PAD_SD3_DAT2__SD3_DATA2		0x17059
				MX6QDL_PAD_SD3_DAT3__SD3_DATA3		0x17059
				MX6QDL_PAD_NANDF_CS1__SD3_VSELECT	0x17059
				MX6QDL_PAD_SD3_DAT5__GPIO7_IO00		0x17059 /* CD */
			>;
		};

		pinctrl_usdhc3_100mhz: usdhc3grp100mhz {
			fsl,pins = <
				MX6QDL_PAD_SD3_CMD__SD3_CMD		0x170b9
				MX6QDL_PAD_SD3_CLK__SD3_CLK		0x100b9
				MX6QDL_PAD_SD3_DAT0__SD3_DATA0		0x170b9
				MX6QDL_PAD_SD3_DAT1__SD3_DATA1		0x170b9
				MX6QDL_PAD_SD3_DAT2__SD3_DATA2		0x170b9
				MX6QDL_PAD_SD3_DAT3__SD3_DATA3		0x170b9
				MX6QDL_PAD_NANDF_CS1__SD3_VSELECT	0x170b9
				MX6QDL_PAD_SD3_DAT5__GPIO7_IO00		0x170b9 /* CD */
			>;
		};

		pinctrl_usdhc3_200mhz: usdhc3grp200mhz {
			fsl,pins = <
				MX6QDL_PAD_SD3_CMD__SD3_CMD		0x170f9
				MX6QDL_PAD_SD3_CLK__SD3_CLK		0x100f9
				MX6QDL_PAD_SD3_DAT0__SD3_DATA0		0x170f9
				MX6QDL_PAD_SD3_DAT1__SD3_DATA1		0x170f9
				MX6QDL_PAD_SD3_DAT2__SD3_DATA2		0x170f9
				MX6QDL_PAD_SD3_DAT3__SD3_DATA3		0x170f9
				MX6QDL_PAD_NANDF_CS1__SD3_VSELECT	0x170f9
				MX6QDL_PAD_SD3_DAT5__GPIO7_IO00		0x170f9 /* CD */
			>;
		};

		pinctrl_wdog: wdoggrp {
			fsl,pins = <
				MX6QDL_PAD_SD1_DAT3__WDOG2_B		0x1b0b0
			>;
		};
	};
};
